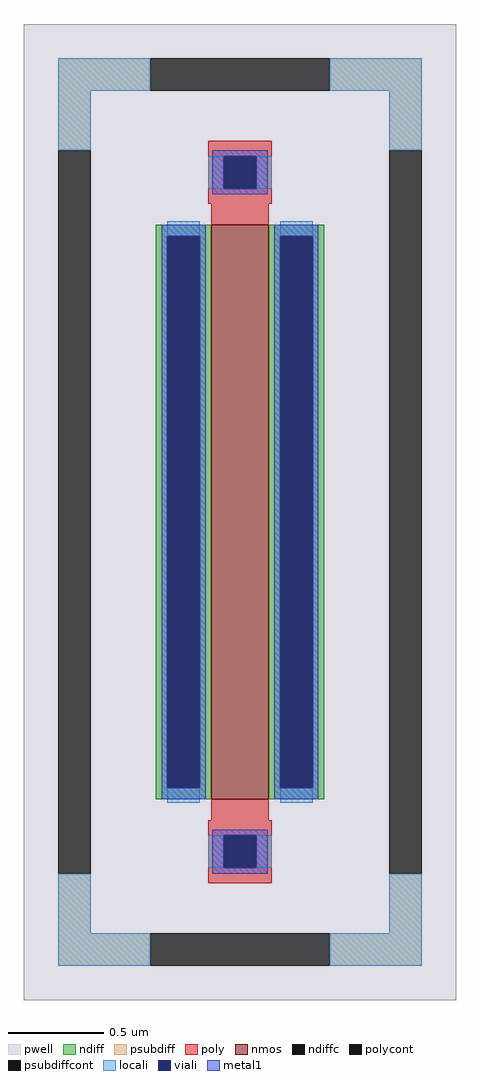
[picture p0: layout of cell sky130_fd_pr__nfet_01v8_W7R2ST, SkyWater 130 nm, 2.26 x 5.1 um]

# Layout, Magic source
magic
tech sky130A
magscale 1 2
<< pwell >>
rect -226 -510 226 510
<< nmos >>
rect -30 -300 30 300
<< ndiff >>
rect -88 288 -30 300
rect -88 -288 -76 288
rect -42 -288 -30 288
rect -88 -300 -30 -288
rect 30 288 88 300
rect 30 -288 42 288
rect 76 -288 88 288
rect 30 -300 88 -288
<< ndiffc >>
rect -76 -288 -42 288
rect 42 -288 76 288
<< psubdiff >>
rect -190 440 -94 474
rect 94 440 190 474
rect -190 378 -156 440
rect 156 378 190 440
rect -190 -440 -156 -378
rect 156 -440 190 -378
rect -190 -474 -94 -440
rect 94 -474 190 -440
<< psubdiffcont >>
rect -94 440 94 474
rect -190 -378 -156 378
rect 156 -378 190 378
rect -94 -474 94 -440
<< poly >>
rect -33 372 33 388
rect -33 338 -17 372
rect 17 338 33 372
rect -33 322 33 338
rect -30 300 30 322
rect -30 -322 30 -300
rect -33 -338 33 -322
rect -33 -372 -17 -338
rect 17 -372 33 -338
rect -33 -388 33 -372
<< polycont >>
rect -17 338 17 372
rect -17 -372 17 -338
<< locali >>
rect -190 440 -94 474
rect 94 440 190 474
rect -190 378 -156 440
rect 156 378 190 440
rect -33 338 -17 372
rect 17 338 33 372
rect -76 288 -42 304
rect -76 -304 -42 -288
rect 42 288 76 304
rect 42 -304 76 -288
rect -33 -372 -17 -338
rect 17 -372 33 -338
rect -190 -440 -156 -378
rect 156 -440 190 -378
rect -190 -474 -94 -440
rect 94 -474 190 -440
<< viali >>
rect -17 338 17 372
rect -76 -288 -42 288
rect 42 -288 76 288
rect -17 -372 17 -338
<< metal1 >>
rect -29 372 29 378
rect -29 338 -17 372
rect 17 338 29 372
rect -29 332 29 338
rect -82 288 -36 300
rect -82 -288 -76 288
rect -42 -288 -36 288
rect -82 -300 -36 -288
rect 36 288 82 300
rect 36 -288 42 288
rect 76 -288 82 288
rect 36 -300 82 -288
rect -29 -338 29 -332
rect -29 -372 -17 -338
rect 17 -372 29 -338
rect -29 -378 29 -372
<< properties >>
string gencell sky130_fd_pr__nfet_01v8
string FIXED_BBOX -173 -457 173 457
string parameters w 3 l 0.3 m 1 nf 1 diffcov 100 polycov 100 guard 1 glc 1 grc 1 gtc 1 gbc 1 tbcov 100 rlcov 100 topc 1 botc 1 poverlap 0 doverlap 1 lmin 0.15 wmin 0.42 compatible {sky130_fd_pr__nfet_01v8 sky130_fd_pr__nfet_01v8_lvt  sky130_fd_bs_flash__special_sonosfet_star  sky130_fd_pr__nfet_g5v0d10v5 sky130_fd_pr__nfet_05v0_nvt} full_metal 1 viasrc 100 viadrn 100 viagate 100 viagb 0 viagr 0 viagl 0 viagt 0
string library sky130
<< end >>
